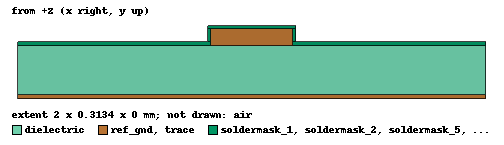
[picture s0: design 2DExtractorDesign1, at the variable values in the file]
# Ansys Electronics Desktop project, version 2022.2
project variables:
  $plane_tickness = 0.018mm
  $plane_width = 2mm
  $dielectric_thickness = 0.2104mm
  $trace_width = 0.35mm
  $trace_thickness = 0.07mm
  $solder_thickness = 0.015mm
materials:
  vacuum: permittivity=1
  copper: permeability=0.999991 conductivity=58000000
  FR4_epoxy: permittivity=4.4 dielectric_loss_tangent=0.02
  air: permittivity=1.0006 permeability=1.0000004
  SolderMask-dk38: permittivity=3.8 dielectric_loss_tangent=0.035

design 2DExtractorDesign1 (2D Extractor, Open, model units mm)
options: LumpedLength=1meter RiseTime=1ns DistribLengthUnits=meter Calculate_Lossy_Dielectrics
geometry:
  ref_gnd [copper] = rectangle(corner=(0mm, 0mm, 0mm), x_size=$plane_width, y_size=$plane_tickness)
  dielectric [FR4_epoxy] = rectangle(corner=(0mm, $plane_tickness, 0mm), x_size=$plane_width, y_size=$dielectric_thickness)
  trace [copper] = rectangle(corner=($plane_width/2-($trace_width/2), $plane_tickness+$dielectric_thickness, 0mm), x_size=$trace_width, y_size=$trace_thickness)
  air [air] = rectangle(corner=(-0.5mm, -0.5mm, 0mm), x_size=3mm, y_size=1.5mm)
  soldermask_1 [SolderMask-dk38] = rectangle(corner=(0mm, $dielectric_thickness+$plane_tickness, 0mm), x_size=$plane_width/2-$trace_width/2, y_size=$solder_thickness)
  soldermask_2 [SolderMask-dk38] = rectangle(corner=($plane_width/2+$trace_width/2, $dielectric_thickness+$plane_tickness, 0mm), x_size=$plane_width/2-$trace_width/2, y_size=$solder_thickness)
  soldermask_3 [SolderMask-dk38] = rectangle(corner=($plane_width/2-$trace_width/2, $dielectric_thickness+$plane_tickness+$trace_thickness, 0mm), x_size=-$solder_thickness, y_size=-$trace_thickness+$solder_thickness)
  soldermask_4 [SolderMask-dk38] = rectangle(corner=($plane_width/2+$trace_width/2, $dielectric_thickness+$plane_tickness+$trace_thickness, 0mm), x_size=$solder_thickness, y_size=-$trace_thickness+$solder_thickness)
  soldermask_5 [SolderMask-dk38] = rectangle(corner=($plane_width/2-$trace_width/2-$solder_thickness, $plane_tickness+$dielectric_thickness+$trace_thickness, 0mm), x_size=$trace_width+(2*$solder_thickness), y_size=$solder_thickness)
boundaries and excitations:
  trace: SignalLine Objects=trace SolveOption=SolveInside Thickness=-1000mm
  ref_gnd: ReferenceGround Objects=ref_gnd SolveOption=SolveInside Thickness=-1000mm
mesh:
  initial mesh: MeshMethod=AnsoftTAU
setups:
  Setup_1GHz: 2DMatrix AdaptiveFreq=1GHz SaveFields CGDataBlock{MaxPass=10 MinPass=1 MinConvPass=1 PerError=1 PerRefine=30 Included PerErrorParamConv=1} RLDataBlock{MaxPass=10 MinPass=1 MinConvPass=1 PerError=1 PerRefine=30 Included PerErrorParamConv=1}
    sweep Sweep_0to10GHz: 0Hz to 0Hz, 1 points; 1Hz to 1GHz, log, 10 per decade; 1GHz to 10GHz, log, 10 per decade; Type=Discrete
  Setup_10GHz: 2DMatrix AdaptiveFreq=10GHz SaveFields CGDataBlock{MaxPass=10 MinPass=1 MinConvPass=1 PerError=1 PerRefine=30 Included PerErrorParamConv=1} RLDataBlock{MaxPass=10 MinPass=1 MinConvPass=1 PerError=1 PerRefine=30 Included PerErrorParamConv=1}
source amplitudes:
  trace: CG Fields 1V 0deg
  trace: RL Fields 1A 0deg
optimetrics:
  paraSweep_traceWidth: Parametric Sim._Setups=[Setup_10GHz, Setup_1GHz]
    sweep $trace_width: LIN 0.2mm 0.5mm 0.1mm
    calculate mag(Z0(trace,trace)) on Setup_1GHz : LastAdaptive at Freq 1GHz
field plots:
  Mag_E1, VectorE1: E over ref_gnd, dielectric, trace, air, soldermask_1..soldermask_5 on Setup_1GHz : LastAdaptive at Freq=1GHz Phase=0deg
  Mag_H1, VectorH1: H over ref_gnd, dielectric, trace, air, soldermask_1..soldermask_5 on Setup_1GHz : LastAdaptive at Freq=1GHz Phase=0deg
  Jrl_1GHz: J over ref_gnd, dielectric, trace, air, soldermask_1..soldermask_5 on Setup_1GHz : LastAdaptive at Freq=1GHz Phase=0deg
  Jrl_10GHz: J over air, ref_gnd, dielectric, trace, soldermask_1..soldermask_5 on Setup_10GHz : LastAdaptive at Freq=10GHz Phase=0deg
  Flux_Lines1, VectorA1: A over air, ref_gnd, dielectric, trace, soldermask_1..soldermask_5 on Setup_1GHz : LastAdaptive at Freq=1GHz Phase=0deg
  Mag_Phi1: Phi over ref_gnd, dielectric, trace, air, soldermask_1..soldermask_5 on Setup_1GHz : LastAdaptive at Freq=1GHz Phase=0deg
  Mag_B1, VectorB1: B over ref_gnd, dielectric, trace, air, soldermask_1..soldermask_5 on Setup_1GHz : LastAdaptive at Freq=1GHz Phase=0deg
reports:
  Characteristic Impedance Plot 1: mag(Z0(trace,trace)) vs Freq on Setup_1GHz : Sweep_0to10GHz; markers MX1 at x=1e+09
  EpsEff Plot 1: EpsEffModal(Mode1) vs Freq on Setup_1GHz : Sweep_0to10GHz; markers MX1 at x=1e+09
